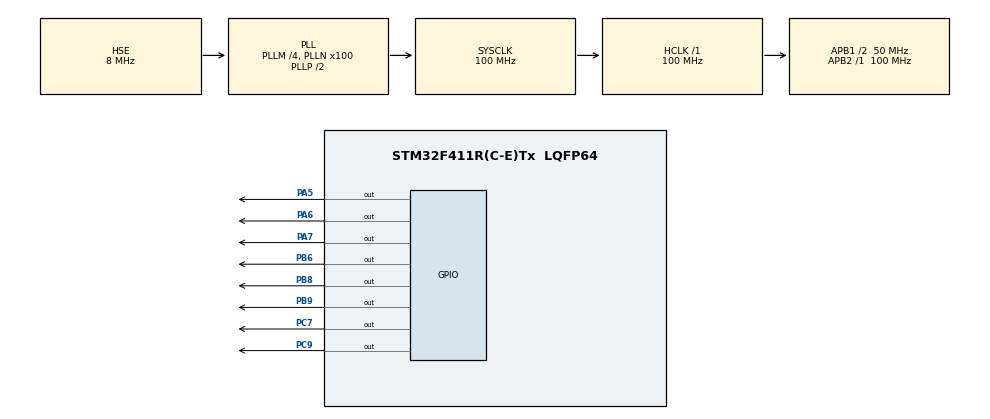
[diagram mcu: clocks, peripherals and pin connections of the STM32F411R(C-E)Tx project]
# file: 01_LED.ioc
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Mcu.Family=STM32F4
Mcu.Name=STM32F411R(C-E)Tx
Mcu.Package=LQFP64
NVIC.PriorityGroup=NVIC_PRIORITYGROUP_4
PA13.Mode=Serial_Wire
PA13.Signal=SYS_JTMS-SWDIO
PA14.Mode=Serial_Wire
PA14.Signal=SYS_JTCK-SWCLK
PA5.Signal=GPIO_Output
PA6.Signal=GPIO_Output
PA7.Signal=GPIO_Output
PB6.Signal=GPIO_Output
PB8.Signal=GPIO_Output
PB9.Signal=GPIO_Output
PC7.Signal=GPIO_Output
PC9.Signal=GPIO_Output
PH0\ -\ OSC_IN.Mode=HSE-External-Oscillator
PH0\ -\ OSC_IN.Signal=RCC_OSC_IN
PH1\ -\ OSC_OUT.Mode=HSE-External-Oscillator
PH1\ -\ OSC_OUT.Signal=RCC_OSC_OUT
ProjectManager.HeapSize=0x200
ProjectManager.StackSize=0x400
ProjectManager.TargetToolchain=STM32CubeIDE
RCC.48MHZClocksFreq_Value=50000000
RCC.AHBFreq_Value=100000000
RCC.APB1CLKDivider=RCC_HCLK_DIV2
RCC.APB1Freq_Value=50000000
RCC.APB1TimFreq_Value=100000000
RCC.APB2Freq_Value=100000000
RCC.APB2TimFreq_Value=100000000
RCC.CortexFreq_Value=100000000
RCC.HCLKFreq_Value=100000000
RCC.HSE_VALUE=8000000
RCC.HSI_VALUE=16000000
RCC.LSE_VALUE=32768
RCC.PLLM=4
RCC.PLLN=100
RCC.PLLSourceVirtual=RCC_PLLSOURCE_HSE
RCC.SYSCLKFreq_VALUE=100000000
RCC.SYSCLKSource=RCC_SYSCLKSOURCE_PLLCLK
RCC.VCOOutputFreq_Value=200000000
board=custom

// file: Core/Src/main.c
/* USER CODE BEGIN Header */
/**
  ******************************************************************************
  * @file           : main.c
  * @brief          : Main program body
  ******************************************************************************
  * @attention
  *
  * Copyright (c) 2025 STMicroelectronics.
  * All rights reserved.
  *
  * This software is licensed under terms that can be found in the LICENSE file
  * in the root directory of this software component.
  * If no LICENSE file comes with this software, it is provided AS-IS.
  *
  ******************************************************************************
  */
/* USER CODE END Header */
#include "main.h"
#include "gpio.h"

/* USER CODE BEGIN PTD */

typedef enum
{
  LED_OFF,    // 0
  LED_ON      // 1
}LED_STATE;

typedef struct
{
  GPIO_TypeDef *port;       // 주소값
  uint16_t      pinNumber;
  uint32_t      interval;
  LED_STATE     state;
  uint32_t      lastTick;
}LED_CONTROL;

void updateLed(LED_CONTROL *led)
{
  uint32_t currentTick = HAL_GetTick();   // 현재의 시간 (틱) 가져옴

  if(currentTick - led->lastTick >= led->interval)
  {
    led->lastTick = currentTick;

    if(led->state == LED_OFF)
    {
      HAL_GPIO_WritePin(led->port, led->pinNumber, 1);
    led->state = LED_ON;
    }

    else
    {
      HAL_GPIO_WritePin(led->port, led->pinNumber, 0);
      led->state = LED_OFF;
    }
  }
}
/* USER CODE END PTD */

void SystemClock_Config(void);

int main(void)
{

  /* USER CODE BEGIN 1 */

  HAL_Delay(300);

  /* USER CODE END 1 */

  /* MCU Configuration--------------------------------------------------------*/

  /* Reset of all peripherals, Initializes the Flash interface and the Systick. */
  HAL_Init();

  /* Configure the system clock */
  SystemClock_Config();

  /* Initialize all configured peripherals */
  MX_GPIO_Init();
  /* USER CODE BEGIN 2 */

  LED_CONTROL led1 = {GPIOC, GPIO_PIN_9, 200, LED_OFF, 0};
  LED_CONTROL led2 = {GPIOB, GPIO_PIN_8, 1000, LED_OFF, 0};

  /* USER CODE END 2 */

  /* Infinite loop */
  /* USER CODE BEGIN WHILE */
  while (1)
  {
//    HAL_GPIO_WritePin(GPIOA, GPIO_PIN_5, GPIO_PIN_SET);   // 6월 11일에 했던 내용, 6월12일에 led1개 켜고 끄기
//    HAL_Delay(300);
//    HAL_GPIO_WritePin(GPIOA, GPIO_PIN_5, GPIO_PIN_SET);
//    HAL_Delay(300);
//
    updateLed(&led1);
    updateLed(&led2);

    /* USER CODE END WHILE */

  }
}

void SystemClock_Config(void)
{
  RCC_OscInitTypeDef RCC_OscInitStruct = {0};
  RCC_ClkInitTypeDef RCC_ClkInitStruct = {0};

  /** Configure the main internal regulator output voltage
  */
  __HAL_RCC_PWR_CLK_ENABLE();
  __HAL_PWR_VOLTAGESCALING_CONFIG(PWR_REGULATOR_VOLTAGE_SCALE1);

  /** Initializes the RCC Oscillators according to the specified parameters
  * in the RCC_OscInitTypeDef structure.
  */
  RCC_OscInitStruct.OscillatorType = RCC_OSCILLATORTYPE_HSE;
  RCC_OscInitStruct.HSEState = RCC_HSE_ON;
  RCC_OscInitStruct.PLL.PLLState = RCC_PLL_ON;
  RCC_OscInitStruct.PLL.PLLSource = RCC_PLLSOURCE_HSE;
  RCC_OscInitStruct.PLL.PLLM = 4;
  RCC_OscInitStruct.PLL.PLLN = 100;
  RCC_OscInitStruct.PLL.PLLP = RCC_PLLP_DIV2;
  RCC_OscInitStruct.PLL.PLLQ = 4;
  if (HAL_RCC_OscConfig(&RCC_OscInitStruct) != HAL_OK)
  {
    Error_Handler();
  }

  /** Initializes the CPU, AHB and APB buses clocks
  */
  RCC_ClkInitStruct.ClockType = RCC_CLOCKTYPE_HCLK|RCC_CLOCKTYPE_SYSCLK
                              |RCC_CLOCKTYPE_PCLK1|RCC_CLOCKTYPE_PCLK2;
  RCC_ClkInitStruct.SYSCLKSource = RCC_SYSCLKSOURCE_PLLCLK;
  RCC_ClkInitStruct.AHBCLKDivider = RCC_SYSCLK_DIV1;
  RCC_ClkInitStruct.APB1CLKDivider = RCC_HCLK_DIV2;
  RCC_ClkInitStruct.APB2CLKDivider = RCC_HCLK_DIV1;

  if (HAL_RCC_ClockConfig(&RCC_ClkInitStruct, FLASH_LATENCY_3) != HAL_OK)
  {
    Error_Handler();
  }
}

void Error_Handler(void)
{
  __disable_irq();
  while (1)
  {
  }
}
